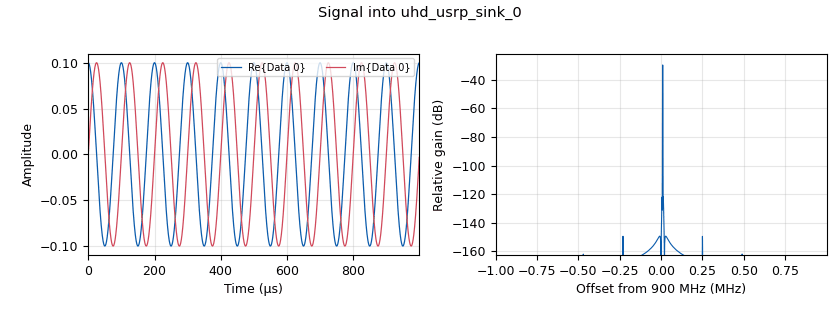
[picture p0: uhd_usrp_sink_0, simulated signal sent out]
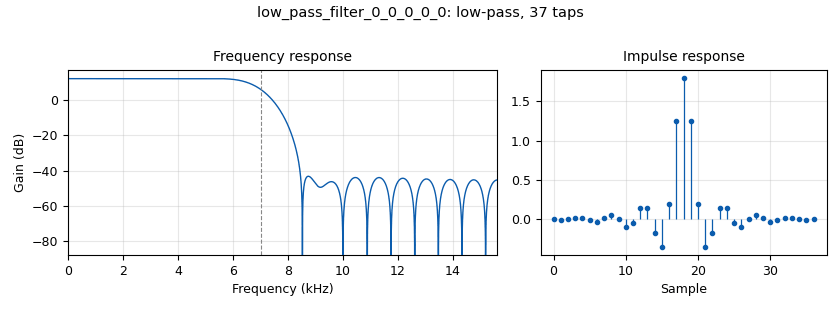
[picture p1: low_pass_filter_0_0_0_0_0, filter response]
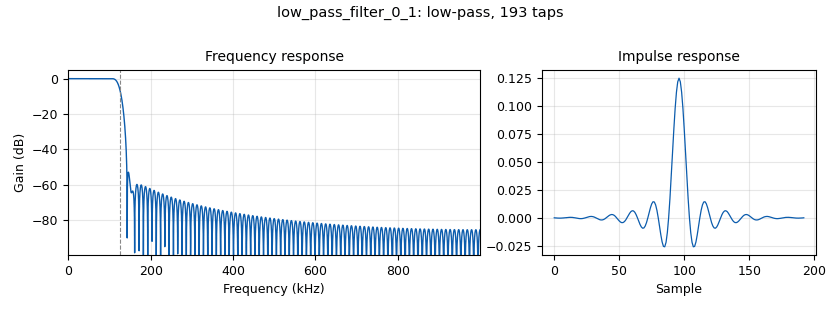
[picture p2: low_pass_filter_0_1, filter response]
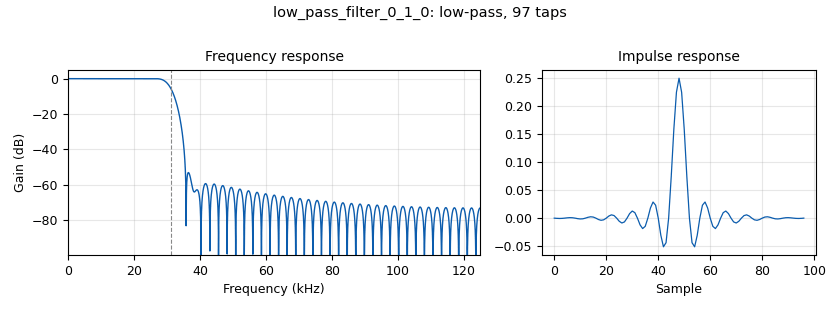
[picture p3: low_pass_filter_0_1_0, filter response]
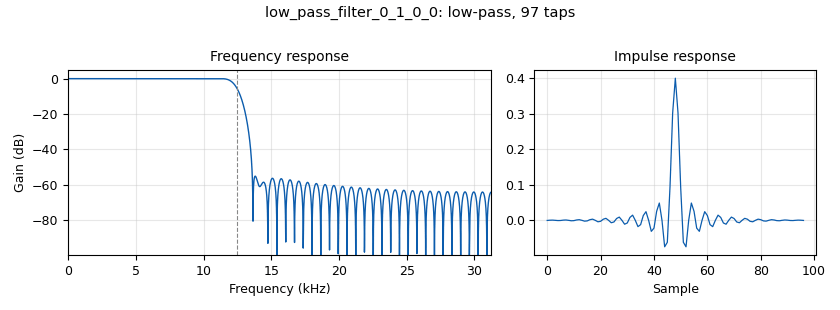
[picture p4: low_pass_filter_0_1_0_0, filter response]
options:
  parameters:
    generate_options: qt_gui
    id: test0_usrp
    output_language: python
    title: USRP loopback
  states: {}

blocks:
- name: collection_time_sec
  id: variable
  parameters:
    value: '10'
  states: {}
- name: factors
  id: variable
  parameters:
    value: '[8,4,2]'
  states: {}
- name: fb
  id: variable
  parameters:
    value: 10e3
  states: {}
- name: fc
  id: variable
  parameters:
    value: 900e6
  states: {}
- name: fs_stage1
  id: variable
  parameters:
    value: samp_rate/factors[0]
  states: {}
- name: fs_stage2
  id: variable
  parameters:
    value: fs_stage1/factors[1]
  states: {}
- name: fs_stage3
  id: variable
  parameters:
    value: fs_stage2/factors[2]
  states: {}
- name: samp_rate
  id: variable
  parameters:
    value: 2e6
  states: {}
- name: analog_sig_source_x_0
  id: analog_sig_source_x
  parameters:
    amp: '0.1'
    freq: fb
    offset: '0'
    phase: '0'
    samp_rate: samp_rate
    type: complex
    waveform: analog.GR_SIN_WAVE
  states: {}
- name: audio_sink_0
  id: audio_sink
  parameters:
    samp_rate: '48000'
  states: {state: disabled}
- name: audio_sink_1
  id: audio_sink
  parameters:
    samp_rate: '48000'
  states: {state: disabled}
- name: blocks_complex_to_arg_0
  id: blocks_complex_to_arg
  parameters: {}
  states: {state: disabled}
- name: blocks_complex_to_arg_0_0
  id: blocks_complex_to_arg
  parameters: {}
  states: {}
- name: blocks_complex_to_float_0
  id: blocks_complex_to_float
  parameters: {}
  states: {state: disabled}
- name: blocks_complex_to_mag_0
  id: blocks_complex_to_mag
  parameters: {}
  states: {state: disabled}
- name: blocks_multiply_conjugate_cc_1
  id: blocks_multiply_conjugate_cc
  parameters: {}
  states: {}
- name: dc_blocker_xx_0
  id: dc_blocker_xx
  parameters:
    length: '128'
    long_form: 'True'
    type: ff
  states: {}
- name: epy_block_0
  id: epy_block
  parameters:
    _source_code: |
      import numpy as np
      import soundfile as sf
      from gnuradio import gr

      class blk(gr.sync_block):
          def __init__(self):
              gr.sync_block.__init__(
                  self,
                  name="wav_writer",
                  in_sig=[np.float32],
                  out_sig=None
              )

              self.fs = 48000
              self.filename = "/home/risc/ram/USRP/output.wav"

              # buffer to accumulate samples
              self.buffer = []

          def work(self, input_items, output_items):
              x = input_items[0]

              # remove DC (important for phase signals)
              x = x - np.mean(x)

              self.buffer.extend(x.tolist())

              return len(x)

          def stop(self):
              data = np.array(self.buffer, dtype=np.float32)

              # normalize safely
              if len(data) > 0:
                  data = data / (np.max(np.abs(data)) + 1e-8)

                  sf.write(self.filename, data, self.fs)
                  print(f"Saved WAV to {self.filename}")

              return True
  states: {state: disabled}
- name: high_pass_filter_0
  id: high_pass_filter
  parameters:
    cutoff_freq: '30'
    decim: '1'
    gain: '1'
    samp_rate: fs_stage3/2
    type: fir_filter_ccf
    width: '60'
    win: window.WIN_HANN
  states: {state: bypassed}
- name: low_pass_filter_0
  id: low_pass_filter
  parameters:
    cutoff_freq: '625000'
    decim: factors[0]
    gain: '1'
    samp_rate: samp_rate
    type: fir_filter_fff
    width: '100000'
    win: window.WIN_HAMMING
  states: {state: disabled}
- name: low_pass_filter_0_0
  id: low_pass_filter
  parameters:
    cutoff_freq: '450000'
    decim: '4'
    gain: '1'
    samp_rate: fs_stage1
    type: fir_filter_fff
    width: '25000'
    win: window.WIN_HAMMING
  states: {state: disabled}
- name: low_pass_filter_0_0_0
  id: low_pass_filter
  parameters:
    cutoff_freq: '90000'
    decim: '2'
    gain: '1'
    samp_rate: fs_stage2
    type: fir_filter_fff
    width: '20000'
    win: window.WIN_HAMMING
  states: {state: disabled}
- name: low_pass_filter_0_0_0_0
  id: low_pass_filter
  parameters:
    cutoff_freq: '20000'
    decim: '1'
    gain: '1'
    samp_rate: fs_stage3
    type: fir_filter_fff
    width: '5000'
    win: window.WIN_HAMMING
  states: {state: disabled}
- name: low_pass_filter_0_0_0_0_0
  id: low_pass_filter
  parameters:
    cutoff_freq: '7000'
    decim: '1'
    gain: '4'
    samp_rate: fs_stage3
    type: fir_filter_ccf
    width: '2000'
    win: window.WIN_HAMMING
  states: {}
- name: low_pass_filter_0_0_0_0_0_0
  id: low_pass_filter
  parameters:
    cutoff_freq: '5000'
    decim: '4'
    gain: '1'
    samp_rate: fs_stage3/2
    type: fir_filter_fff
    width: '2000'
    win: window.WIN_HAMMING
  states: {state: disabled}
- name: low_pass_filter_0_1
  id: low_pass_filter
  parameters:
    cutoff_freq: 0.5*fs_stage1
    decim: factors[0]
    gain: '1'
    samp_rate: samp_rate
    type: fir_filter_ccf
    width: 0.1*fs_stage1
    win: window.WIN_HAMMING
  states: {}
- name: low_pass_filter_0_1_0
  id: low_pass_filter
  parameters:
    cutoff_freq: 0.5*fs_stage2
    decim: factors[1]
    gain: '1'
    samp_rate: fs_stage1
    type: fir_filter_ccf
    width: 0.1*fs_stage2
    win: window.WIN_HAMMING
  states: {}
- name: low_pass_filter_0_1_0_0
  id: low_pass_filter
  parameters:
    cutoff_freq: 0.4*fs_stage3
    decim: factors[2]
    gain: '1'
    samp_rate: fs_stage2
    type: fir_filter_ccf
    width: 0.05*fs_stage3
    win: window.WIN_HAMMING
  states: {}
- name: qtgui_const_sink_x_0
  id: qtgui_const_sink_x
  parameters:
    autoscale: 'True'
    grid: 'True'
    name: IQ constellation
    size: '1024'
    type: complex
  states: {state: disabled}
- name: qtgui_const_sink_x_0_0
  id: qtgui_const_sink_x
  parameters:
    autoscale: 'True'
    grid: 'True'
    name: IQ constellation
    size: '1024'
    type: complex
  states: {state: disabled}
- name: qtgui_freq_sink_x_0
  id: qtgui_freq_sink_x
  parameters:
    autoscale: 'True'
    average: '0.2'
    bw: '10000'
    fc: '0'
    fftsize: '2048'
    grid: 'True'
    norm_window: 'True'
    type: float
    update_time: '0.01'
  states: {state: disabled}
- name: qtgui_freq_sink_x_0_0
  id: qtgui_freq_sink_x
  parameters:
    autoscale: 'True'
    average: '0.2'
    bw: '40000'
    fc: '0'
    fftsize: '4096'
    grid: 'True'
    norm_window: 'True'
    type: float
    update_time: '0.01'
  states: {state: disabled}
- name: qtgui_time_sink_x_0
  id: qtgui_time_sink_x
  parameters:
    autoscale: 'True'
    grid: 'True'
    name: Phase (arg(I + jQ))
    size: '1024'
    srate: samp_rate
    type: float
    ylabel: Raw Phase
    yunit: rad
  states: {state: disabled}
- name: qtgui_time_sink_x_0_0
  id: qtgui_time_sink_x
  parameters:
    autoscale: 'True'
    grid: 'True'
    name: Phase (arg(I + jQ))
    size: '2048'
    srate: fs_stage2
    type: float
    ylabel: Phase
    ymax: '2'
    ymin: '-2'
    yunit: rad
  states: {state: disabled}
- name: qtgui_time_sink_x_0_0_0
  id: qtgui_time_sink_x
  parameters:
    autoscale: 'True'
    grid: 'True'
    label1: Phase
    name: Phase (arg(I + jQ))
    size: '4096'
    srate: fs_stage3
    type: float
    update_time: '0.05'
    ylabel: Phase
    ymax: '2'
    ymin: '-2'
    yunit: rad
  states: {}
- name: qtgui_time_sink_x_0_0_0_0
  id: qtgui_time_sink_x
  parameters:
    autoscale: 'True'
    grid: 'True'
    label1: Phase
    name: Mag (arg(I + jQ))
    size: '4096'
    srate: fs_stage3
    type: float
    update_time: '0.05'
    ylabel: Mag
    ymax: '2'
    ymin: '-2'
    yunit: rad
  states: {state: disabled}
- name: qtgui_time_sink_x_0_0_1
  id: qtgui_time_sink_x
  parameters:
    autoscale: 'True'
    grid: 'True'
    name: Phase (arg(I + jQ))
    size: '2048'
    srate: fs_stage2
    type: complex
    ylabel: Phase
    ymax: '2'
    ymin: '-2'
    yunit: rad
  states: {state: disabled}
- name: qtgui_waterfall_sink_x_0
  id: qtgui_waterfall_sink_x
  parameters:
    bw: '3200'
    fc: '0'
    fftsize: '4096'
    grid: 'True'
    type: float
    update_time: '0.1'
  states: {}
- name: qtgui_waterfall_sink_x_0_0
  id: qtgui_waterfall_sink_x
  parameters:
    bw: '12000'
    fc: '0'
    fftsize: '2048'
    grid: 'True'
    type: float
  states: {state: disabled}
- name: qtgui_waterfall_sink_x_0_1
  id: qtgui_waterfall_sink_x
  parameters:
    bw: '3200'
    fc: '0'
    fftsize: '4096'
    grid: 'True'
    name: '"Mag waterfall"'
    type: float
    update_time: '0.1'
  states: {state: disabled}
- name: rational_resampler_xxx_0
  id: rational_resampler_xxx
  parameters:
    decim: '96'
    interp: '125'
    type: fff
  states: {state: disabled}
- name: rational_resampler_xxx_0_0
  id: rational_resampler_xxx
  parameters:
    decim: '125'
    interp: '96'
    type: fff
  states: {state: disabled}
- name: rational_resampler_xxx_1
  id: rational_resampler_xxx
  parameters:
    decim: '125'
    interp: '384'
    type: fff
  states: {state: disabled}
- name: uhd_usrp_sink_0
  id: uhd_usrp_sink
  parameters:
    ant0: '"TX/RX"'
    center_freq0: fc
    dev_addr: addr=192.168.10.3
    gain0: '28'
    samp_rate: samp_rate
    sync: pc_clock
    type: fc32
  states: {}
- name: uhd_usrp_source_0
  id: uhd_usrp_source
  parameters:
    ant0: '"RX2"'
    center_freq0: fc
    dev_addr: addr=192.168.10.3
    gain0: '10'
    samp_rate: samp_rate
    sync: pc_clock
    type: fc32
  states: {}

connections:
- [analog_sig_source_x_0, '0', blocks_multiply_conjugate_cc_1, '0']
- [analog_sig_source_x_0, '0', uhd_usrp_sink_0, '0']
- [blocks_complex_to_arg_0, '0', low_pass_filter_0, '0']
- [blocks_complex_to_arg_0, '0', qtgui_time_sink_x_0, '0']
- [blocks_complex_to_arg_0, '0', qtgui_waterfall_sink_x_0_0, '0']
- [blocks_complex_to_arg_0_0, '0', dc_blocker_xx_0, '0']
- [blocks_complex_to_arg_0_0, '0', low_pass_filter_0_0_0_0_0_0, '0']
- [blocks_complex_to_arg_0_0, '0', qtgui_time_sink_x_0_0_0, '0']
- [blocks_complex_to_arg_0_0, '0', rational_resampler_xxx_1, '0']
- [blocks_complex_to_float_0, '0', qtgui_freq_sink_x_0_0, '0']
- [blocks_complex_to_mag_0, '0', qtgui_time_sink_x_0_0_0_0, '0']
- [blocks_complex_to_mag_0, '0', qtgui_waterfall_sink_x_0_1, '0']
- [blocks_multiply_conjugate_cc_1, '0', blocks_complex_to_arg_0, '0']
- [blocks_multiply_conjugate_cc_1, '0', low_pass_filter_0_1, '0']
- [blocks_multiply_conjugate_cc_1, '0', qtgui_const_sink_x_0_0, '0']
- [dc_blocker_xx_0, '0', qtgui_waterfall_sink_x_0, '0']
- [high_pass_filter_0, '0', blocks_complex_to_arg_0_0, '0']
- [high_pass_filter_0, '0', blocks_complex_to_mag_0, '0']
- [low_pass_filter_0, '0', low_pass_filter_0_0, '0']
- [low_pass_filter_0_0, '0', low_pass_filter_0_0_0, '0']
- [low_pass_filter_0_0_0, '0', low_pass_filter_0_0_0_0, '0']
- [low_pass_filter_0_0_0_0, '0', qtgui_freq_sink_x_0, '0']
- [low_pass_filter_0_0_0_0, '0', qtgui_time_sink_x_0_0, '0']
- [low_pass_filter_0_0_0_0_0, '0', high_pass_filter_0, '0']
- [low_pass_filter_0_0_0_0_0_0, '0', rational_resampler_xxx_0, '0']
- [low_pass_filter_0_1, '0', low_pass_filter_0_1_0, '0']
- [low_pass_filter_0_1_0, '0', low_pass_filter_0_1_0_0, '0']
- [low_pass_filter_0_1_0_0, '0', low_pass_filter_0_0_0_0_0, '0']
- [rational_resampler_xxx_0, '0', audio_sink_0, '0']
- [rational_resampler_xxx_0, '0', epy_block_0, '0']
- [rational_resampler_xxx_1, '0', audio_sink_1, '0']
- [uhd_usrp_source_0, '0', blocks_complex_to_float_0, '0']
- [uhd_usrp_source_0, '0', blocks_multiply_conjugate_cc_1, '1']
- [uhd_usrp_source_0, '0', qtgui_const_sink_x_0, '0']
- [uhd_usrp_source_0, '0', qtgui_time_sink_x_0_0_1, '0']

metadata:
  file_format: 1
  grc_version: 3.10.12.0
